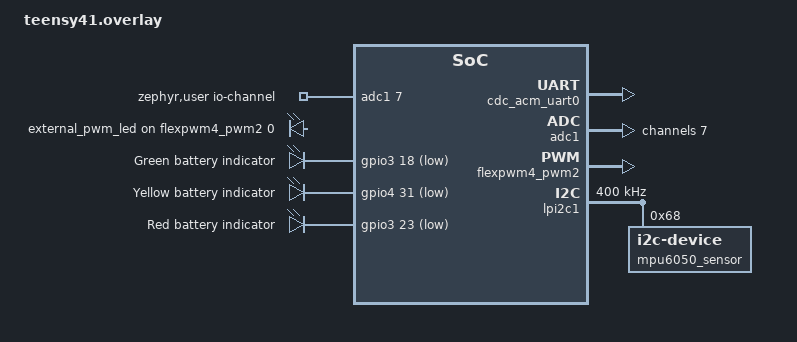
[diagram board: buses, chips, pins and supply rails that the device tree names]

&zephyr_udc0
{
	cdc_acm_uart0
	{
		compatible = "zephyr,cdc-acm-uart";
		label = "Zephyr USB CDC-ACM";
	};
};

/ {
	zephyr,user
	{
		io-channels = <&adc1 7>;
	};
};

/ {
	aliases
	{
		pwm-led0 = &external_pwm_led;
	};

	pwmleds
	{
		compatible = "pwm-leds";
		external_pwm_led: external_pwm_led
		{
			pwms = <&flexpwm4_pwm2 0 PWM_MSEC(20) PWM_POLARITY_NORMAL>;
		};
	};

};

&pinctrl
{
	pinmux_adc1: pinmux_adc1
	{
		group0
		{
			pinmux = <&iomuxc_gpio_ad_b1_02_adc1_in7>;
			bias-disable;
			drive-strength = "r0-6";
			slew-rate = "slow";
			nxp,speed = "100-mhz";
		};
	};
	pinmux_flexpwm4: pinmux_flexpwm4
	{
		group0
		{
			pinmux = <&iomuxc_gpio_emc_04_flexpwm4_pwma2>;
			drive-strength = "r0-6";
			nxp,speed = "100-mhz";
			bias-pull-down;
			slew-rate = "fast";
		};
	};
};

&adc1
{
	status = "okay";
	pinctrl-0 = <&pinmux_adc1>;
	pinctrl-names = "default";
	#address-cells = <1>;
	#size-cells = <0>;

	channel@7
	{
		reg = <7>;
		zephyr,gain = "ADC_GAIN_1";
		zephyr,reference = "ADC_REF_INTERNAL";
		zephyr,acquisition-time = <ADC_ACQ_TIME_DEFAULT>;
		zephyr,resolution = <12>;
	};
};

&flexpwm4_pwm2
{
	status = "okay";
	pinctrl-0 = <&pinmux_flexpwm4>;
	pinctrl-names = "default";
};

/ {
	aliases
	{
		greenled = &externalledgreen;
		yellowled = &externalledyellow;
		redled = &externalledred;
	};

	leds
	{
		compatible = "gpio-leds";
		externalledgreen: gpio2
		{
			gpios = <&gpio3 18 GPIO_ACTIVE_LOW>;
			label = "Green battery indicator";
		};
		externalledyellow: gpio1
		{
			gpios = <&gpio4 31 GPIO_ACTIVE_LOW>;
			label = "Yellow battery indicator";
		};
		externalledred: gpio0
		{
			gpios = <&gpio3 23 GPIO_ACTIVE_LOW>;
			label = "Red battery indicator";
		};
	};
};

/ {
    aliases
	{
        mpu6050 = &mpu6050_sensor;
    };
};

&lpi2c1
{
    status = "okay";
    clock-frequency = <I2C_BITRATE_FAST>;

    mpu6050_sensor: mpu6050@68
	{
        compatible = "i2c-device";
        reg = <0x68>;
    };
};

